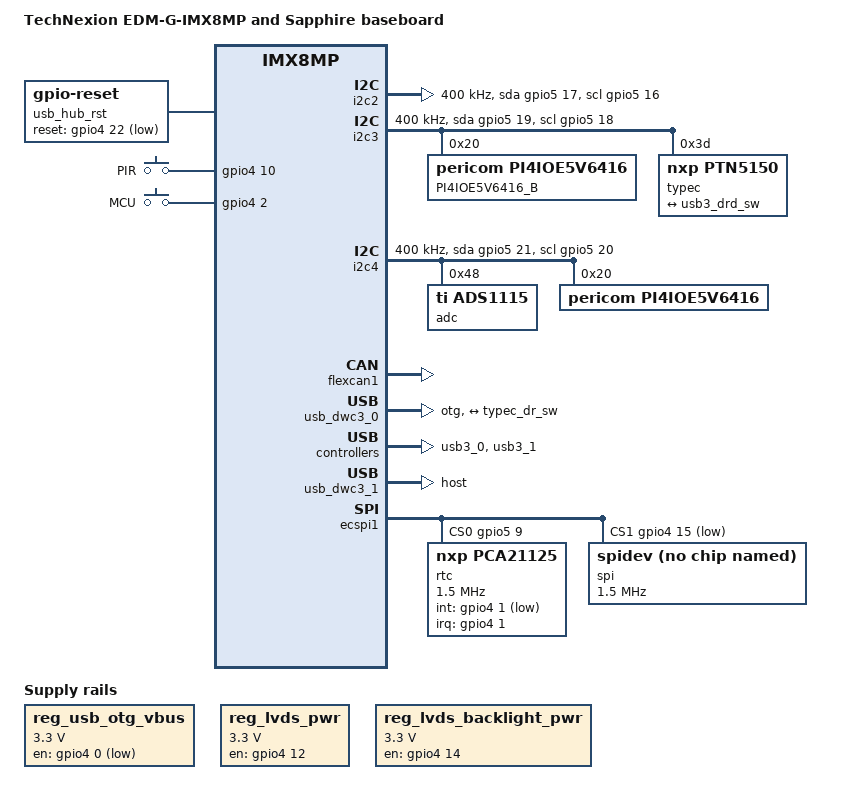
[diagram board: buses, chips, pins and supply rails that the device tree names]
// SPDX-License-Identifier: (GPL-2.0+ OR MIT)
/*
 *
 */

/dts-v1/;

#include "imx8mp-edm-g.dtsi"

/ {
	model = "TechNexion EDM-G-IMX8MP and Sapphire baseboard";
	compatible = "fsl,imx8mp-edmg", "fsl,imx8mp";

	
	chosen {
		stdout-path = &uart2;
	};

	reg_usb_otg_vbus: usb_otg_vbus {
		pinctrl-names = "default";
		pinctrl-0 = <&pinctrl_otg_vbus>;
		compatible = "regulator-fixed";
		regulator-name = "usb_otg_vbus";
		regulator-min-microvolt = <3300000>;
		regulator-max-microvolt = <3300000>;
		gpio = <&gpio4 0 GPIO_ACTIVE_LOW>;
		enable-active-low;
	};

	reg_lvds_pwr: regulator_lvdspwr {
		pinctrl-names = "default";
		pinctrl-0 = <&pinctrl_lvds0_pwr>;
		compatible = "regulator-fixed";
		regulator-name = "lvds0_vdden";
		regulator-min-microvolt = <3300000>;
		regulator-max-microvolt = <3300000>;
		gpio = <&gpio4 12 GPIO_ACTIVE_HIGH>;
		enable-active-high;
	};

	reg_lvds_backlight_pwr: regulator_lvdsblpwr {
		pinctrl-names = "default";
		pinctrl-0 = <&pinctrl_lvds0_backlight_pwr>;
		compatible = "regulator-fixed";
		regulator-name = "lvds0_bl_en";
		regulator-min-microvolt = <3300000>;
		regulator-max-microvolt = <3300000>;
		gpio = <&gpio4 14 GPIO_ACTIVE_HIGH>;
		enable-active-high;
		regulator-always-on;
	};

	lvds_backlight: lvds_backlight {
		compatible = "pwm-backlight";
		pwms = <&pwm2 0 50000>;
		brightness-levels = <0 36 72 108 144 180 216 255>;
		default-brightness-level = <6>;
		status = "disabled";
	};

	usb_hub_rst: usb_hub_rst {
		compatible = "gpio-reset";
		pinctrl-names = "default";
		pinctrl-0 = <&pinctrl_usb_hub_ctrl>;
		reset-gpios = <&gpio4 22 GPIO_ACTIVE_LOW>;
		reset-delay-us = <10>;
		#reset-cells = <0>;
	};
/*
	sound-wm8960 {
		compatible = "fsl,imx7d-evk-wm8960", "fsl,imx-audio-wm8960";
		model = "wm8960-audio";
		cpu-dai = <&sai3>;
		audio-codec = <&codec>;
		asrc-controller = <&easrc>;
		codec-master;
		hp-det = <2 0>;
		audio-routing =
			"Headphone Jack", "HP_L",
			"Headphone Jack", "HP_R",
			"Ext Spk", "SPK_LP",
			"Ext Spk", "SPK_LN",
			"Ext Spk", "SPK_RP",
			"Ext Spk", "SPK_RN",
			"LINPUT1", "Mic Jack",
			"Mic Jack", "MICB",
			"CPU-Playback", "ASRC-Playback",
			"Playback", "CPU-Playback",
			"ASRC-Capture", "CPU-Capture",
			"CPU-Capture", "Capture";
	};
	clocks {
		codec_osc: aud_mclk {
			compatible = "fixed-clock";
			#clock-cells = <0>;
			clock-frequency = <24000000>;
			clock-output-names = "wm8960-mclk";
		};
	};
*/


	gpio-leds {
		compatible = "gpio-leds";
		status = "okay";

	};

	gpio-keys {
		compatible = "gpio-keys";
		status = "okay";

		pir1 {
 			label = "PIR";
			linux,code = <KEY_LEFT>;
			gpios = <&gpio4 10 GPIO_ACTIVE_HIGH>;
 			wakeup-source;
 		};

/*
		pir2 {
 			label = "PIR2";
			linux,code = <KEY_RIGHT>;
			gpios = <&gpio4 11 GPIO_ACTIVE_HIGH>;
			wakeup-source;
		};
*/
		mcu {
			label = "MCU";
			linux,code = <KEY_UP>;
			gpios = <&gpio4 2 GPIO_ACTIVE_HIGH>;
 			wakeup-source;
 		};
	};

};
/*
&gpio1 {
	pinctrl-0 = <&pinctrl_gpio1>;
	gpio-line-names =	\
		"", "", "", "", "", "", "DSI_RST", "",	\
		"", "", "", "", "", "", "", "",	\
		"", "", "", "", "", "", "", "",	\
		"", "", "", "", "", "", "", "";
};

&gpio4 {
	pinctrl-0 = <&pinctrl_gpio4>;
	gpio-line-names =	\
		"", "", "", "", "", "", "GPIO_P249", "GPIO_P251",	\
		"", "GPIO_P255", "", "", "", "", "", "",	\
		"DSI_BL_EN", "DSI_VDDEN", "", "", "", "", "", "",	\
		"", "", "", "", "", "", "", "";
};
*/
&pwm3 {
	status = "disabled";
};

&snvs_pwrkey {
	status = "disabled";
};

&mipi_dsi {
	status = "disabled";
};

&mipi_csi_0 {
	status = "disabled";
};

&mipi_csi_1 {
	status = "disabled";
};

&i2c2 {
	clock-frequency = <400000>;
	pinctrl-names = "default", "gpio";
	pinctrl-0 = <&pinctrl_i2c2>;
	pinctrl-1 = <&pinctrl_i2c2_gpio>;
	scl-gpios = <&gpio5 16 GPIO_ACTIVE_HIGH>;
	sda-gpios = <&gpio5 17 GPIO_ACTIVE_HIGH>;
	status = "okay";


};

&eqos {
	status = "disabled";
};

&i2c3 {
	clock-frequency = <400000>;
	pinctrl-names = "default", "gpio";
	pinctrl-0 = <&pinctrl_i2c3>;
	pinctrl-1 = <&pinctrl_i2c3_gpio>;
	scl-gpios = <&gpio5 18 GPIO_ACTIVE_HIGH>;
	sda-gpios = <&gpio5 19 GPIO_ACTIVE_HIGH>;
	status = "okay";



	PI4IOE5V6416_B: gpio@20 {
		compatible = "pericom,pi4ioe5v6416";
		reg = <0x20>;
		gpio-controller;
		pinctrl-names = "default";
		/*pinctrl-0 = <&pinctrl_pi4io16_A>;*/
		#gpio-cells = <2>;
		status = "okay";

		rfid_en1 {
			gpio-hog;
			gpios = <6 0>;
			output-high;
			line-name = "rfid_en1";
		};

		rfid_en2 {
			gpio-hog;
			gpios = <14 0>;
			output-high;
			line-name = "rfid_en2";
		};

		
		
	};

	/* USB Type-C Controller */
	typec@3d {
		compatible = "nxp,ptn5150";
		pinctrl-names = "default";
		/*pinctrl-0 = <&pinctrl_extcon>;*/
		reg = <0x3d>;
		/*interrupt-parent = <&gpio1>;
		interrupts = <10 IRQ_TYPE_LEVEL_HIGH>;
		irq-is-id-quirk;*/
		status ="okay";

		port {
			typec_dr_sw: endpoint {
				remote-endpoint = <&usb3_drd_sw>;
			};
		};
	};

	





};


&i2c4 {
	clock-frequency = <400000>;
	pinctrl-names = "default", "gpio";
	pinctrl-0 = <&pinctrl_i2c4>;
	pinctrl-1 = <&pinctrl_i2c4_gpio>;
	scl-gpios = <&gpio5 20 GPIO_ACTIVE_HIGH>;
	sda-gpios = <&gpio5 21 GPIO_ACTIVE_HIGH>;
	status = "okay";



	adc@48 {
        compatible = "ti,ads1115";
        reg = <0x48>;
        #address-cells = <1>;
        #size-cells = <0>;
        channel@0 {
            reg = <0>;
            ti,gain = <1>;
            ti,datarate = <5>;
            };
        channel@1 {
            reg = <1>;
            ti,gain = <3>;
            ti,datarate = <5>;
        };
        channel@2 {
            reg = <2>;
            ti,gain = <3>;
            ti,datarate = <5>;
        };
        channel@3 {
            reg = <3>;
            ti,gain = <3>;
            ti,datarate = <5>;
        };
	};


	PI4IOE5V6416: gpio@20 {
		compatible = "pericom,pi4ioe5v6416";
		reg = <0x20>;
		gpio-controller;
		pinctrl-names = "default";
		#gpio-cells = <2>;
		status = "okay";
/*
		cell_pwr_en {
			gpio-hog;
			gpios = <8 0>;
			output-high;
			line-name = "cell_pwr_en";
		};

		cell_pwr_full_off {
			gpio-hog;
			gpios = <9 0>;
			output-high;
			line-name = "cell_pwr_full_off";
		};
*/
	/*	cell_rst {
			gpio-hog;
			gpios = <10 0>;
			output-low;
			line-name = "cell_rst";
		}; */
		
	};


};

&i2c5 {
	status = "disabled";
};

&flexcan1 {
	status = "okay";
};

&flexcan2 {
	status = "disabled";
};

&usb_dwc3_0 {
	dr_mode = "otg";
	hnp-disable;
	srp-disable;
	adp-disable;
	usb-role-switch;
	role-switch-default-mode = "none";
	snps,dis-u1-entry-quirk;
	snps,dis-u2-entry-quirk;
	status = "okay";

	port {
		usb3_drd_sw: endpoint {
			remote-endpoint = <&typec_dr_sw>;
		};
	};
};


&usb3_0 {
	status = "okay";
};

&usb3_1 {
	status = "okay";
};

&usb_dwc3_1 {
	dr_mode = "host";
	status = "okay";
	resets = <&usb_hub_rst>;
};

&pcie{
	ext_osc = <1>;
	status = "disabled";
};

&pcie_phy{
	ext_osc = <1>;
	status = "disabled";
};


&ecspi1 {
	#address-cells = <1>;
	#size-cells = <0>;
	num-cs = <2>;
	pinctrl-names = "default";
	pinctrl-0 = <&pinctrl_ecspi1>;
	cs-gpios = <&gpio5 9 GPIO_ACTIVE_HIGH> ,<&gpio4 15 GPIO_ACTIVE_LOW>;
	status = "okay";
	
	rtc@0 {
		compatible = "nxp,pca21125";
		pinctrl-names = "default";
		pinctrl-0 = <&pinctrl_rtc>;
		interrupt-parent = <&gpio4>;
		interrupts = <1 IRQ_TYPE_EDGE_FALLING>;
		int-gpio = <&gpio4 1 GPIO_ACTIVE_LOW>;
		spi-max-frequency = <1500000>;
		spi-cs-high;
		reg = <0>;
	};
	/*sx1276@1 {
		compatible = "semtech,sx1276";
		reg = <1>;
		spi-max-frequency = <1500000>;
		center-carrier-frq = <924000000>;
		clock-frequency = <32000000>;
		minimal-RF-channel = /bits/ 8 <11>;
		maximum-RF-channel = /bits/ 8 <11>;
	};*/
	spi@1 {
		reg = <1>;
		compatible = "rohm,dh2228fv";
		spi-max-frequency = <1500000>;
	};

};

&sai2 {

	status = "disabled";
};

/* AUD_A on EDMG */
&sai3 {

	status = "disabled";
};

/* SD card on baseboard */
&usdhc2 {

	status = "disabled";
};


&iomuxc {
	pinctrl-names = "default";
	pinctrl-0 = <&pinctrl_hog>;

	pinctrl_hog: hoggrp {
		fsl,pins = <
			MX8MP_IOMUXC_HDMI_DDC_SCL__HDMIMIX_HDMI_SCL			0x400001c2
			MX8MP_IOMUXC_HDMI_DDC_SDA__HDMIMIX_HDMI_SDA			0x400001c2
			MX8MP_IOMUXC_HDMI_HPD__HDMIMIX_HDMI_HPD				0x40000010
			MX8MP_IOMUXC_HDMI_CEC__HDMIMIX_HDMI_CEC				0x40000010
			MX8MP_IOMUXC_SAI1_TXD1__GPIO4_IO13					0x19
			/*MX8MP_IOMUXC_SAI1_TXD3__GPIO4_IO15				0x19*/
			MX8MP_IOMUXC_SAI5_RXC__GPIO3_IO20					0x19
			/*MX8MP_IOMUXC_NAND_CLE__GPIO3_IO05					0x19*/
			MX8MP_IOMUXC_SAI1_TXD4__GPIO4_IO16					0x19
			MX8MP_IOMUXC_SAI1_RXD2__GPIO4_IO04					0x19
			MX8MP_IOMUXC_SAI1_TXD5__GPIO4_IO17					0x19
			MX8MP_IOMUXC_SAI1_RXD3__GPIO4_IO05					0x19
			MX8MP_IOMUXC_GPIO1_IO06__GPIO1_IO06					0x19
			MX8MP_IOMUXC_GPIO1_IO15__GPIO1_IO15					0x19
			MX8MP_IOMUXC_GPIO1_IO08__GPIO1_IO08					0x19
			MX8MP_IOMUXC_GPIO1_IO07__GPIO1_IO07					0x19
			MX8MP_IOMUXC_GPIO1_IO14__GPIO1_IO14					0x19
			/*MX8MP_IOMUXC_I2C2_SCL__GPIO5_IO16					0x19
			MX8MP_IOMUXC_I2C2_SDA__GPIO5_IO17					0x19*/
			MX8MP_IOMUXC_SAI2_RXFS__GPIO4_IO21					0x19
			MX8MP_IOMUXC_GPIO1_IO13__GPIO1_IO13					0x19
			MX8MP_IOMUXC_GPIO1_IO01__GPIO1_IO01					0x19
			MX8MP_IOMUXC_SAI5_RXD3__GPIO3_IO24					0x19
			MX8MP_IOMUXC_SAI5_MCLK__GPIO3_IO25					0x19
			MX8MP_IOMUXC_SAI3_RXD__GPIO4_IO30					0x19
			MX8MP_IOMUXC_SAI3_TXFS__GPIO4_IO31					0x19
			MX8MP_IOMUXC_SAI3_TXD__GPIO5_IO01					0x19
			MX8MP_IOMUXC_SAI3_TXC__GPIO5_IO00					0x19
			MX8MP_IOMUXC_SAI3_MCLK__GPIO5_IO02					0x19
			MX8MP_IOMUXC_SAI2_MCLK__GPIO4_IO27					0x19
			MX8MP_IOMUXC_GPIO1_IO10__GPIO1_IO10					0x19
			MX8MP_IOMUXC_SAI1_RXD0__GPIO4_IO02					0x19
			MX8MP_IOMUXC_SAI1_RXD1__GPIO4_IO03					0x19
			MX8MP_IOMUXC_SAI1_TXFS__GPIO4_IO10					0x19
			MX8MP_IOMUXC_SAI1_TXC__GPIO4_IO11					0x19
			MX8MP_IOMUXC_SAI1_RXD4__GPIO4_IO06					0x19
			MX8MP_IOMUXC_SAI1_RXD5__GPIO4_IO07					0x19
			MX8MP_IOMUXC_SAI1_RXD6__GPIO4_IO08					0x19
			MX8MP_IOMUXC_SAI1_RXD7__GPIO4_IO09					0x19
			MX8MP_IOMUXC_SPDIF_EXT_CLK__GPIO5_IO05				0x19
			>;
	};
	
	pinctrl_otg_vbus: otgvbusgrp {
		fsl,pins = <
			MX8MP_IOMUXC_SAI1_RXFS__GPIO4_IO00		0x19 /* USB_OTG_PWR_EN */
		>;
	};

	pinctrl_rtc: pinctrl_rtcgrp {
		fsl,pins = <
			MX8MP_IOMUXC_SAI1_RXC__GPIO4_IO01		0x19 /* USB_OTG_PWR_EN */
		>;
	};

	pinctrl_usb_hub_ctrl: usbhubctrlgrp {
		fsl,pins = <
			MX8MP_IOMUXC_SAI2_RXC__GPIO4_IO22		0x41 /* USB_HUB_RESET */
		>;
	};

	pinctrl_hd3ss3220_irq: hd3ss3220_irqgrp {
		fsl,pins = <
			MX8MP_IOMUXC_SAI1_RXD6__GPIO4_IO08		0x41 /* GPIO_P253 */
		>;
	};

	pinctrl_lvds0_backlight_pwr: lvds0_bl_pwrgrp {
		fsl,pins = <
			MX8MP_IOMUXC_SAI1_TXD2__GPIO4_IO14		0x19 /* LVDS0_BL_EN */
		>;
	};

	pinctrl_lvds0_pwr: lvds0_pwrgrp {
		fsl,pins = <
			MX8MP_IOMUXC_SAI1_TXD0__GPIO4_IO12		0x19 /* LVDS0_VDDEN */
		>;
	};

	pinctrl_touch_reset: touch_rstgrp {
		fsl,pins = <
			MX8MP_IOMUXC_SAI1_TXD1__GPIO4_IO13		0x41 /* TOUCH_nRST, LVDS1_VDDEN */
		>;
	};

	pinctrl_pca9555_a21_irq: pca9555_a21_irqgrp {
		fsl,pins = <
			MX8MP_IOMUXC_GPIO1_IO10__GPIO1_IO10		0x140 /* SPI_B_SS0 */
		>;
	};

	pinctrl_pca9555_a23_irq: pca9555_a23_irqgrp {
		fsl,pins = <
			MX8MP_IOMUXC_SAI1_TXC__GPIO4_IO11		0x140 /* GPIO_P247 */
		>;
	};

	pinctrl_gpio1: gpio1grp {
		fsl,pins = <
			MX8MP_IOMUXC_GPIO1_IO06__GPIO1_IO06		0x16 /* DSI_RST */
		>;
	};

	pinctrl_gpio4: gpio4grp {
		fsl,pins = <
			MX8MP_IOMUXC_SAI1_RXD4__GPIO4_IO06		0x16 /* GPIO_P249 */
			MX8MP_IOMUXC_SAI1_RXD5__GPIO4_IO07		0x16 /* GPIO_P251 */
			MX8MP_IOMUXC_SAI1_RXD7__GPIO4_IO09		0x16 /* GPIO_P255 */
			MX8MP_IOMUXC_SAI1_TXD4__GPIO4_IO16		0x16 /* DSI_BL_EN */
			MX8MP_IOMUXC_SAI1_TXD5__GPIO4_IO17		0x16 /* DSI_VDDEN */
		>;
	};

	pinctrl_nfc: nfcgrp {
		fsl,pins = <
			MX8MP_IOMUXC_SAI1_TXFS__GPIO4_IO10		0x41 /* DSI_RST */
		>;
	};

    
	pinctrl_i2c3: i2c3grp {
		fsl,pins = <
			MX8MP_IOMUXC_I2C3_SCL__I2C3_SCL					0x400001c2
			MX8MP_IOMUXC_I2C3_SDA__I2C3_SDA					0x400001c2
		>;
	};

	pinctrl_i2c3_gpio: i2c3gpiogrp {
		fsl,pins = <
			MX8MP_IOMUXC_I2C3_SCL__GPIO5_IO18				0x1c2
			MX8MP_IOMUXC_I2C3_SDA__GPIO5_IO19				0x1c2
		>;
	};

	pinctrl_pi4io16_A: pi4io16grp {
		fsl,pins = <
			MX8MP_IOMUXC_SAI3_RXFS__GPIO4_IO28				0x19
			MX8MP_IOMUXC_SAI3_RXC__GPIO4_IO29				0x19
		>;
	};

	pinctrl_i2c2: i2c2grp {
		fsl,pins = <
			MX8MP_IOMUXC_I2C2_SCL__I2C2_SCL				0x400001c2
			MX8MP_IOMUXC_I2C2_SDA__I2C2_SDA				0x400001c2
		>;
	};


	pinctrl_i2c2_gpio: i2c2gpiogrp {
		fsl,pins = <
			MX8MP_IOMUXC_I2C2_SCL__GPIO5_IO16				0x1c2
			MX8MP_IOMUXC_I2C2_SDA__GPIO5_IO17				0x1c2
		>;
	};

	pinctrl_extcon: extcongrp {
		fsl,pins = <
			MX8MP_IOMUXC_GPIO1_IO10__USB1_ID				0x10
		>;
	};

	pinctrl_i2c4: i2c4grp {
		fsl,pins = <
			MX8MP_IOMUXC_I2C4_SCL__I2C4_SCL					0x400001c2
			MX8MP_IOMUXC_I2C4_SDA__I2C4_SDA					0x400001c2
		>;
	};

	pinctrl_i2c4_gpio: i2c4gpiogrp {
		fsl,pins = <
			MX8MP_IOMUXC_I2C4_SCL__GPIO5_IO20				0x1c2
			MX8MP_IOMUXC_I2C4_SDA__GPIO5_IO21				0x1c2
		>;
	};


	pinctrl_ecspi2: ecspi2grp {
		fsl,pins = <
			MX8MP_IOMUXC_ECSPI2_SCLK__ECSPI2_SCLK				0x12
			MX8MP_IOMUXC_ECSPI2_MOSI__ECSPI2_MOSI				0x12
			MX8MP_IOMUXC_ECSPI2_MISO__ECSPI2_MISO 				0x12
			MX8MP_IOMUXC_ECSPI2_SS0__GPIO5_IO13				0x12
		>;
	};

	pinctrl_ecspi1: ecspi1grp {
		fsl,pins = <
			MX8MP_IOMUXC_ECSPI1_SCLK__ECSPI1_SCLK				0x82
			MX8MP_IOMUXC_ECSPI1_MOSI__ECSPI1_MOSI				0x82
			MX8MP_IOMUXC_ECSPI1_MISO__ECSPI1_MISO				0x82
			MX8MP_IOMUXC_ECSPI1_SS0__GPIO5_IO09  				0x12
			MX8MP_IOMUXC_SAI1_TXD3__GPIO4_IO15					0x12
		>;
	};
};
